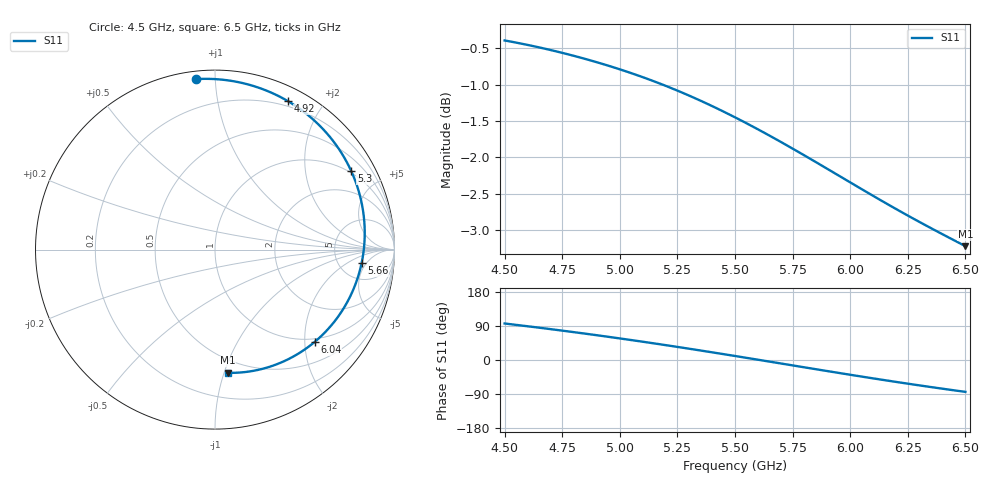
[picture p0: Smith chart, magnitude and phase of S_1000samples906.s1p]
! TOUCHSTONE file generated by CST MICROWAVE STUDIO
! Date and time: Sat Oct 29 18:28:24 2022
! Project name: L.cst
! Parameters = {Di=1.27; Epsilon_r=1.56; InnerDiameter=1.27; Length=2; Lf=10; Lg=60; OuterConductorThickness=0.2921; OuterDiameter=3.6; Wf=3; Wp=41.2; de=1.5; df=6.8; g=0.8; gx=2.38009; gy=4.94716; h=2.34; hf=1.524; px=10.7444; py=10.3726; w=9.7; wx=8.36427; wy=5.42544}
! Header version: 2018
! Port assignment regex: !\s*Touchstone port\s*([0-9]+)\s*=\s*(CST MWS port|CST DS port)\s*([0-9]+|Zmin|Zmax)\s*\(\"(.*)\"\)(\s*mode\s*([0-9]+))?.*
! Touchstone port assignment:
! Touchstone port 1 = CST MWS port 1 ("")
# GHz S DB R 50
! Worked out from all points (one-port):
!   101 points, 4.5 GHz to 6.5 GHz, reference 50 ohm
!   lowest |S11| = -3.2 dB at 6.5 GHz (marker M1), VSWR 5.45, Z = 19.6 - j51.4 ohm
!   |S11| at or under -10 dB: nowhere
!   S11 on the Smith chart (normalised r, x): 4.5 GHz: 0.04, +0.89; 4.92 GHz: 0.15, +1.60; 5.3 GHz: 0.94, +3.52; 5.66 GHz: 8.35, -3.84; 6.04 GHz: 0.92, -2.23; 6.5 GHz: 0.39, -1.03
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4.5  -0.39 96.3
4.58  -0.44 90.5
4.64  -0.48 86.0
4.7  -0.53 81.4
4.76  -0.57 76.7
4.84  -0.64 70.3
4.92  -0.71 63.7
5  -0.79 56.9
5.06  -0.85 51.7
5.12  -0.92 46.4
5.2  -1.02 39.2
5.26  -1.10 33.6
5.3  -1.15 29.9
5.4  -1.29 20.3
5.5  -1.45 10.6
5.58  -1.58 2.7
5.66  -1.72 -5.3
5.76  -1.90 -15.2
5.82  -2.01 -21.2
5.88  -2.12 -27.2
5.94  -2.23 -33.1
6  -2.34 -38.9
6.04  -2.42 -42.8
6.14  -2.60 -52.3
6.2  -2.71 -57.9
6.26  -2.82 -63.4
6.38  -3.02 -74.0
6.5  -3.22 -84.1
